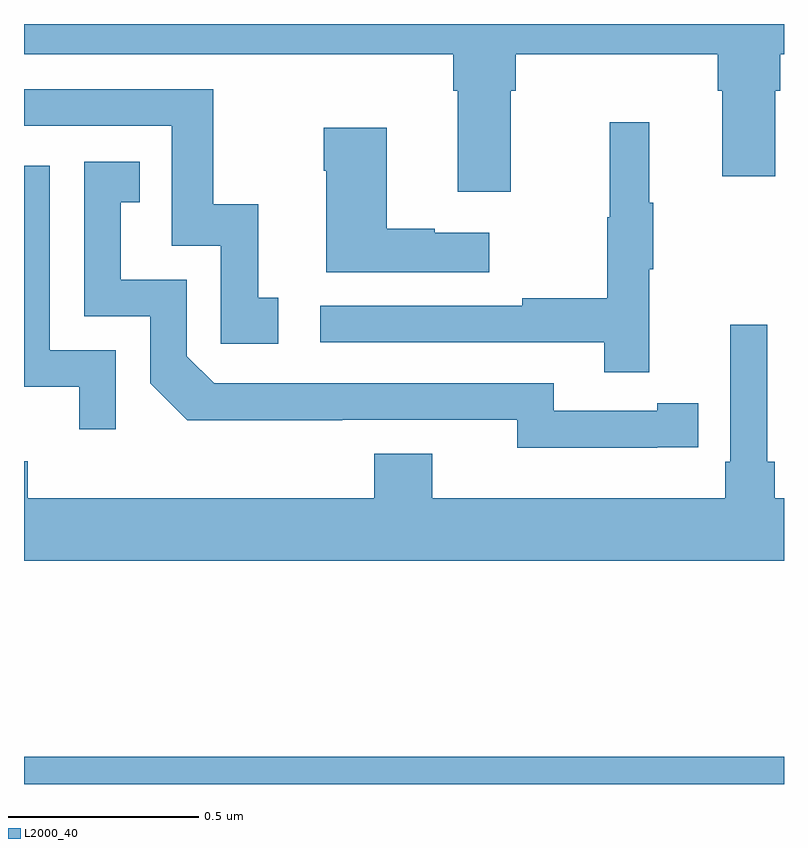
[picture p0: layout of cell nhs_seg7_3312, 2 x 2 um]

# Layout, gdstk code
import gdstk
lib = gdstk.Library(unit=1e-6, precision=1e-09)
def R(c, l, rs):  # rectangles x0, y0, x1, y1
    for r in rs: c.add(gdstk.rectangle(r[:2], r[2:], *l))
def P(c, l, *ps):  # polygons
    for p in ps: c.add(gdstk.Polygon(p, *l))
L2000_40 = (2000, 40)

nhs_seg7_3312 = lib.new_cell('nhs_seg7_3312')
R(nhs_seg7_3312, L2000_40, [(157,1028,159,1028.072)])
P(nhs_seg7_3312, L2000_40, [(158.281,1029.824),(158.294,1029.824),(158.294,1029.92),(158.825,1029.92),(158.825,1029.824),(158.837,1029.824),(158.837,1029.6),(158.977,1029.6),(158.977,1029.824),(158.99,1029.824),(158.99,1029.92),(159,1029.92),(159,1030),(157,1030),(157,1029.92),(158.129,1029.92),(158.129,1029.824),(158.141,1029.824),(158.141,1029.558),(158.281,1029.558)],
  [(157.669,1029.279),(157.616,1029.279),(157.616,1029.526),(157.498,1029.526),(157.498,1029.828),(157,1029.828),(157,1029.732),(157.389,1029.732),(157.389,1029.417),(157.518,1029.417),(157.518,1029.159),(157.669,1029.159)],
  [(158.645,1029.355),(158.656,1029.355),(158.656,1029.529),(158.645,1029.529),(158.645,1029.742),(158.542,1029.742),(158.542,1029.492),(158.535,1029.492),(158.535,1029.278),(158.311,1029.278),(158.311,1029.258),(157.779,1029.258),(157.779,1029.162),(158.527,1029.162),(158.527,1029.084),(158.645,1029.084)],
  [(158.224,1029.451),(158.081,1029.451),(158.081,1029.461),(157.954,1029.461),(157.954,1029.727),(157.789,1029.727),(157.789,1029.614),(157.796,1029.614),(157.796,1029.347),(158.224,1029.347)],
  [(158.666,1028.886),(158.774,1028.886),(158.774,1029.002),(158.666,1029.002),(158.666,1028.982),(158.394,1028.982),(158.394,1029.054),(157.5,1029.054),(157.428,1029.126),(157.428,1029.327),(157.255,1029.327),(157.255,1029.531),(157.304,1029.531),(157.304,1029.637),(157.158,1029.637),(157.158,1029.231),(157.332,1029.231),(157.332,1029.054),(157.43,1028.957),(157.838,1028.957),(157.838,1028.958),(158.298,1028.958),(158.298,1028.885),(158.666,1028.885)],
  [(157.242,1029.141),(157.068,1029.141),(157.068,1029.627),(157,1029.627),(157,1029.045),(157.145,1029.045),(157.145,1028.934),(157.242,1028.934)],
  [(159,1028.752),(158.975,1028.752),(158.975,1028.848),(158.956,1028.848),(158.956,1029.208),(158.859,1029.208),(158.859,1028.848),(158.846,1028.848),(158.846,1028.752),(158.074,1028.752),(158.074,1028.869),(157.922,1028.869),(157.922,1028.752),(157.01,1028.752),(157.01,1028.85),(157,1028.85),(157,1028.588),(159,1028.588)])

lib.write_gds('nhs_seg7_3312.gds')
